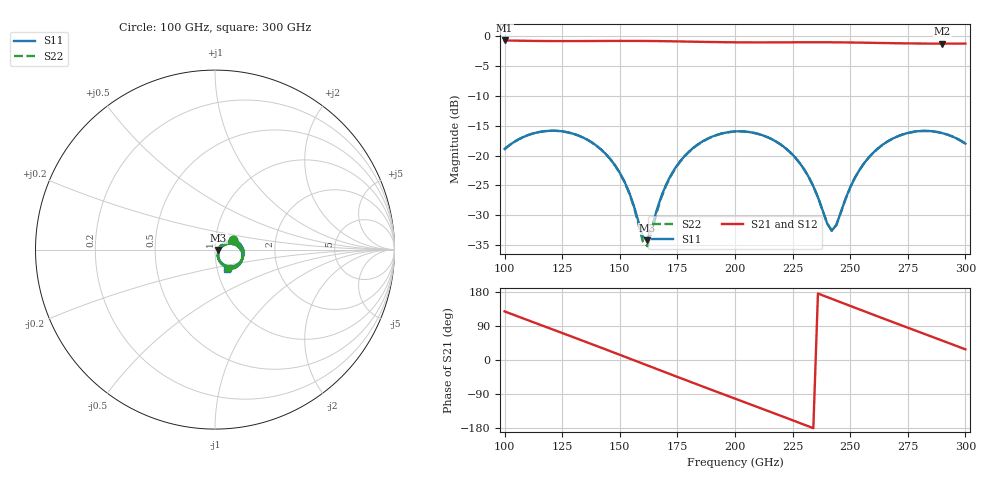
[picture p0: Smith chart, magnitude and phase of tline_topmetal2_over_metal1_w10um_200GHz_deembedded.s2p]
! Created with skrf 2.2.0 (http://scikit-rf.org).
# GHz S DB R 50.0
! Port[1] = P1
! Port[2] = P2
!freq dBS11 angS11 dBS21 angS21 dBS12 angS12 dBS22 angS22
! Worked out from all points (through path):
!   101 points, 100 GHz to 300 GHz, reference 50 ohm
!   highest |S21| = -0.67 dB at 100 GHz (marker M1); lowest = -1.2 dB at 290 GHz (marker M2)
!   group delay of S21, straight-line fit = 6.4 ps
!   lowest |S11| = -34.2 dB at 162 GHz (marker M3), VSWR 1.04, Z = 52 - j0.196 ohm
!   |S11| at or under -10 dB: start of sweep to end of sweep
!   |S22| runs from -35.2 to -15.8 dB; largest |S21 - S12| = 1e-13
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100  -18.89 28.3  -0.67 128.3  -0.67 128.3  -18.89 28.2
116  -15.97 -3.1  -0.76 91.7  -0.76 91.7  -15.97 -3.5
124  -15.88 -19.3  -0.78 73.5  -0.78 73.5  -15.88 -19.7
134  -16.95 -39.2  -0.77 50.6  -0.77 50.6  -16.95 -39.9
150  -22.88 -66.0  -0.74 13.7  -0.74 13.7  -22.92 -67.6
156  -28.29 -64.8  -0.74 -0.3  -0.74 -0.3  -28.47 -67.8
160  -33.59 -37.2  -0.75 -9.6  -0.75 -9.6  -34.39 -40.5
162  -34.18 -5.5  -0.76 -14.3  -0.76 -14.3  -35.19 -4.9
168  -26.84 34.4  -0.78 -28.3  -0.78 -28.3  -27.04 36.7
174  -22.12 32.1  -0.82 -42.3  -0.82 -42.3  -22.19 33.5
180  -19.33 23.1  -0.86 -56.1  -0.86 -56.1  -19.38 24.1
190  -16.82 4.7  -0.93 -79.1  -0.93 -79.1  -16.84 5.4
200  -15.94 -14.8  -0.98 -101.9  -0.98 -101.9  -15.95 -14.3
210  -16.34 -34.3  -1.00 -124.6  -1.00 -124.6  -16.35 -34.0
220  -18.17 -52.9  -0.99 -147.5  -0.99 -147.5  -18.18 -52.7
234  -25.13 -68.7  -0.97 -179.9  -0.97 -179.9  -25.14 -68.5
242  -32.59 -23.1  -0.98 161.4  -0.98 161.4  -32.61 -22.9
254  -22.41 24.8  -1.03 133.5  -1.03 133.5  -22.43 25.1
268  -17.23 3.5  -1.12 101.2  -1.12 101.2  -17.24 3.8
278  -15.97 -15.4  -1.17 78.4  -1.17 78.4  -15.97 -15.1
290  -16.22 -38.4  -1.20 51.0  -1.20 51.0  -16.22 -38.0
300  -17.98 -56.6  -1.19 28.1  -1.19 28.1  -17.98 -56.0
